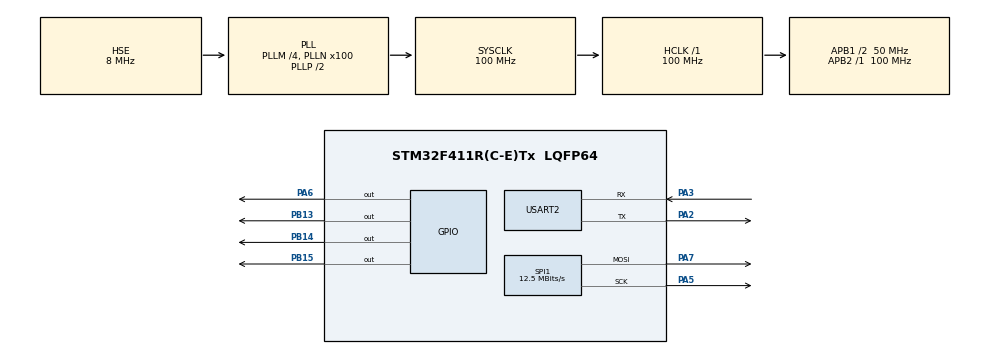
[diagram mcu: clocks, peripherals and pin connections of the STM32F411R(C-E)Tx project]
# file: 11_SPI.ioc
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Mcu.Family=STM32F4
Mcu.Name=STM32F411R(C-E)Tx
Mcu.Package=LQFP64
NVIC.PriorityGroup=NVIC_PRIORITYGROUP_4
PA13.Mode=Serial_Wire
PA13.Signal=SYS_JTMS-SWDIO
PA14.Mode=Serial_Wire
PA14.Signal=SYS_JTCK-SWCLK
PA2.Mode=Asynchronous
PA2.Signal=USART2_TX
PA3.Mode=Asynchronous
PA3.Signal=USART2_RX
PA5.Mode=TX_Only_Simplex_Unidirect_Master
PA5.Signal=SPI1_SCK
PA6.GPIO_Speed=GPIO_SPEED_FREQ_HIGH
PA6.Signal=GPIO_Output
PA7.Mode=TX_Only_Simplex_Unidirect_Master
PA7.Signal=SPI1_MOSI
PB13.GPIO_Speed=GPIO_SPEED_FREQ_HIGH
PB13.Signal=GPIO_Output
PB14.GPIO_Speed=GPIO_SPEED_FREQ_HIGH
PB14.Signal=GPIO_Output
PB15.GPIO_Speed=GPIO_SPEED_FREQ_HIGH
PB15.Signal=GPIO_Output
PH0\ -\ OSC_IN.Mode=HSE-External-Oscillator
PH0\ -\ OSC_IN.Signal=RCC_OSC_IN
PH1\ -\ OSC_OUT.Mode=HSE-External-Oscillator
PH1\ -\ OSC_OUT.Signal=RCC_OSC_OUT
ProjectManager.HeapSize=0x200
ProjectManager.StackSize=0x400
ProjectManager.TargetToolchain=STM32CubeIDE
RCC.48MHZClocksFreq_Value=50000000
RCC.AHBFreq_Value=100000000
RCC.APB1CLKDivider=RCC_HCLK_DIV2
RCC.APB1Freq_Value=50000000
RCC.APB1TimFreq_Value=100000000
RCC.APB2Freq_Value=100000000
RCC.APB2TimFreq_Value=100000000
RCC.CortexFreq_Value=100000000
RCC.HCLKFreq_Value=100000000
RCC.HSE_VALUE=8000000
RCC.HSI_VALUE=16000000
RCC.LSE_VALUE=32768
RCC.PLLM=4
RCC.PLLN=100
RCC.PLLSourceVirtual=RCC_PLLSOURCE_HSE
RCC.SYSCLKFreq_VALUE=100000000
RCC.SYSCLKSource=RCC_SYSCLKSOURCE_PLLCLK
RCC.VCOOutputFreq_Value=200000000
SPI1.BaudRatePrescaler=SPI_BAUDRATEPRESCALER_8
SPI1.CLKPhase=SPI_PHASE_1EDGE
SPI1.CLKPolarity=SPI_POLARITY_LOW
SPI1.CalculateBaudRate=12.5 MBits/s
SPI1.Direction=SPI_DIRECTION_2LINES
SPI1.Mode=SPI_MODE_MASTER
SPI1.VirtualType=VM_MASTER
TIM11.Prescaler=100-1
USART2.VirtualMode=VM_ASYNC
VP_TIM11_VS_ClockSourceINT.Mode=Enable_Timer
board=custom

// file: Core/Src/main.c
/* USER CODE BEGIN Header */
/**
  ******************************************************************************
  * @file           : main.c
  * @brief          : Main program body
  ******************************************************************************
  * @attention
  *
  * Copyright (c) 2025 STMicroelectronics.
  * All rights reserved.
  *
  * This software is licensed under terms that can be found in the LICENSE file
  * in the root directory of this software component.
  * If no LICENSE file comes with this software, it is provided AS-IS.
  *
  ******************************************************************************
  */
/* USER CODE END Header */
#include "main.h"
#include "spi.h"
#include "tim.h"
#include "usart.h"
#include "gpio.h"

/* USER CODE BEGIN Includes */

#include "delay_us.h"

/* USER CODE END Includes */

/* USER CODE BEGIN PD */

#define RCLK_HIGH() HAL_GPIO_WritePin(GPIOA, GPIO_PIN_6, GPIO_PIN_SET)
#define RCLK_LOW() HAL_GPIO_WritePin(GPIOA, GPIO_PIN_6, GPIO_PIN_RESET)

#define SER_PIN   GPIO_PIN_13   // PA7
#define SRCLK_PIN GPIO_PIN_15   // PA5
#define RCLK_PIN  GPIO_PIN_14   // PA6
#define GPIO_PORT GPIOB

/* USER CODE END PD */

/* USER CODE BEGIN PV */

uint8_t LED_Bar[]=
    {
        0b00000001,
        0b00000010,
        0b00000100,
        0b00001000,
        0b00010000,
        0b00100000,
        0b01000000,
        0b10000000,

    };

/* USER CODE END PV */

void SystemClock_Config(void);
/* USER CODE BEGIN PFP */

//void LED_OUT(uint8_t data)    // use SPI
//{
//  // serial date out, srclk
//  HAL_SPI_Transmit(&hspi1, &data, 1, HAL_MAX_DELAY);
//
//  // 저장 클럭
//  RCLK_HIGH();
//  HAL_Delay(1);
//  RCLK_LOW();
//}

void dataOut(uint8_t data)
{
  for(int8_t i = 7; i>= 0; i--) // 위의 HAL_SPI_Transmit(&hspi1, &data, 1, HAL_MAX_DELAY); 이것 역할하는것
  {
    if(data & (1 << i))
    {
      HAL_GPIO_WritePin(GPIO_PORT, SER_PIN, GPIO_PIN_SET); // high냐
    }
    else
    {
      HAL_GPIO_WritePin(GPIO_PORT, SER_PIN, GPIO_PIN_RESET);  // low냐
    }
    // 시프트 클럭 생성
    HAL_GPIO_WritePin(GPIO_PORT, SRCLK_PIN, GPIO_PIN_SET);
    delay_us(5);
    HAL_GPIO_WritePin(GPIO_PORT, SRCLK_PIN, GPIO_PIN_RESET);
    delay_us(5);
  }
  // for문이 8번 돌고나서 (high일때 작동하니까)
  // 위의 저장 클럭 3문장과 같은 것임
  HAL_GPIO_WritePin(GPIO_PORT, RCLK_PIN, GPIO_PIN_SET);
  delay_us(10); // 데이타 시트 참고
  HAL_GPIO_WritePin(GPIO_PORT, RCLK_PIN, GPIO_PIN_RESET);
}

/* USER CODE END PFP */

int main(void)
{

  /* MCU Configuration--------------------------------------------------------*/

  /* Reset of all peripherals, Initializes the Flash interface and the Systick. */
  HAL_Init();

  /* Configure the system clock */
  SystemClock_Config();

  /* Initialize all configured peripherals */
  MX_GPIO_Init();
  MX_USART2_UART_Init();
  MX_SPI1_Init();
  MX_TIM11_Init();
  /* USER CODE BEGIN 2 */

  HAL_TIM_Base_Start(&htim11);  // for delay_us

  /* USER CODE END 2 */

  /* Infinite loop */
  /* USER CODE BEGIN WHILE */
  while (1)
  {
//    for(uint8_t i = 0; i < 8; i++)
//    {
//      LED_OUT(LED_Bar[i]);
//      HAL_Delay(300);
//    }

//      for(uint8_t i = 0; i < 8; i++)
//      {
//        dataOut(1 << i);
//        HAL_Delay(500);
//      }

    dataOut(0x0f);
    HAL_Delay(500);
    dataOut(0xf0);
    HAL_Delay(500);

    /* USER CODE END WHILE */

  }
}

void SystemClock_Config(void)
{
  RCC_OscInitTypeDef RCC_OscInitStruct = {0};
  RCC_ClkInitTypeDef RCC_ClkInitStruct = {0};

  /** Configure the main internal regulator output voltage
  */
  __HAL_RCC_PWR_CLK_ENABLE();
  __HAL_PWR_VOLTAGESCALING_CONFIG(PWR_REGULATOR_VOLTAGE_SCALE1);

  /** Initializes the RCC Oscillators according to the specified parameters
  * in the RCC_OscInitTypeDef structure.
  */
  RCC_OscInitStruct.OscillatorType = RCC_OSCILLATORTYPE_HSE;
  RCC_OscInitStruct.HSEState = RCC_HSE_ON;
  RCC_OscInitStruct.PLL.PLLState = RCC_PLL_ON;
  RCC_OscInitStruct.PLL.PLLSource = RCC_PLLSOURCE_HSE;
  RCC_OscInitStruct.PLL.PLLM = 4;
  RCC_OscInitStruct.PLL.PLLN = 100;
  RCC_OscInitStruct.PLL.PLLP = RCC_PLLP_DIV2;
  RCC_OscInitStruct.PLL.PLLQ = 4;
  if (HAL_RCC_OscConfig(&RCC_OscInitStruct) != HAL_OK)
  {
    Error_Handler();
  }

  /** Initializes the CPU, AHB and APB buses clocks
  */
  RCC_ClkInitStruct.ClockType = RCC_CLOCKTYPE_HCLK|RCC_CLOCKTYPE_SYSCLK
                              |RCC_CLOCKTYPE_PCLK1|RCC_CLOCKTYPE_PCLK2;
  RCC_ClkInitStruct.SYSCLKSource = RCC_SYSCLKSOURCE_PLLCLK;
  RCC_ClkInitStruct.AHBCLKDivider = RCC_SYSCLK_DIV1;
  RCC_ClkInitStruct.APB1CLKDivider = RCC_HCLK_DIV2;
  RCC_ClkInitStruct.APB2CLKDivider = RCC_HCLK_DIV1;

  if (HAL_RCC_ClockConfig(&RCC_ClkInitStruct, FLASH_LATENCY_3) != HAL_OK)
  {
    Error_Handler();
  }
}

void Error_Handler(void)
{
  __disable_irq();
  while (1)
  {
  }
}
